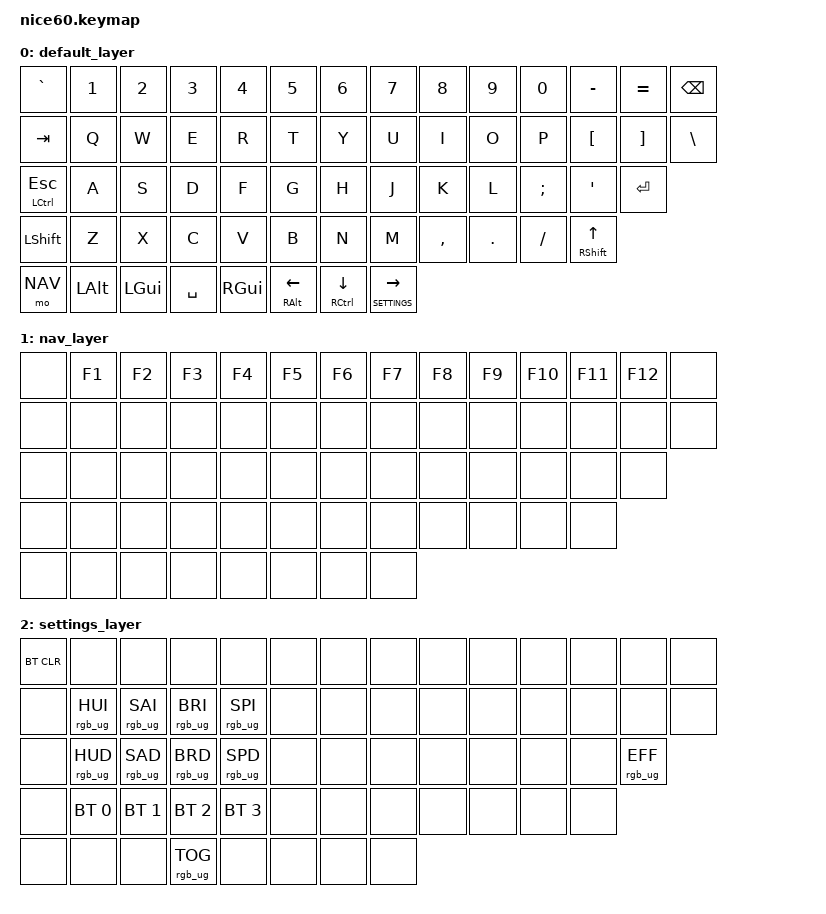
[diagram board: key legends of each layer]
/*
 * Copyright (c) 2021 Nick Winans
 *
 * SPDX-License-Identifier: MIT
 */

#include <behaviors.dtsi>
#include <dt-bindings/zmk/keys.h>
#include <dt-bindings/zmk/rgb.h>
#include <dt-bindings/zmk/bt.h>
#include <dt-bindings/zmk/outputs.h>
#include <dt-bindings/zmk/reset.h>
#include <dt-bindings/zmk/ext_power.h>

#define DEFAULT  0
#define NAV      1
#define SETTINGS 2

/ {
  keymap {
    compatible = "zmk,keymap";

    default_layer {
      bindings = <
        &kp GRAVE     &kp N1   &kp N2   &kp N3    &kp N4   &kp N5        &kp N6         &kp N7             &kp N8    &kp N9  &kp N0   &kp MINUS    &kp EQUAL &kp BSPC
        &kp TAB       &kp Q    &kp W    &kp E     &kp R    &kp T         &kp Y          &kp U              &kp I     &kp O   &kp P    &kp LBKT     &kp RBKT  &kp BSLH
        &mt LCTRL ESC &kp A    &kp S    &kp D     &kp F    &kp G         &kp H          &kp J              &kp K     &kp L   &kp SEMI &kp SQT      &kp RET
        &kp LSHFT     &kp Z    &kp X    &kp C     &kp V    &kp B         &kp N          &kp M              &kp COMMA &kp DOT &kp FSLH &mt RSHFT UP
        &mo NAV       &kp LALT &kp LGUI &kp SPACE &kp RGUI &mt RALT LEFT &mt RCTRL DOWN &lt SETTINGS RIGHT
        >;
    };

    nav_layer {
      bindings = <
        &none &kp F1 &kp F2 &kp F3 &kp F4 &kp F5 &kp F6 &kp F7 &kp F8 &kp F9 &kp F10 &kp F11 &kp F12 &none
        &none &none  &none  &none  &none  &none  &none  &none  &none  &none  &none   &none   &none   &none
        &none &none  &none  &none  &none  &none  &none  &none  &none  &none  &none   &none   &none
        &none &none  &none  &none  &none  &none  &none  &none  &none  &none  &none   &none
        &none &none  &none  &none  &none  &none  &none  &none
        >;
    };

    settings_layer {
      bindings = <
        &bt BT_CLR &none           &none           &none           &none           &none &none &none &none &none &none &none &none           &none
        &none      &rgb_ug RGB_HUI &rgb_ug RGB_SAI &rgb_ug RGB_BRI &rgb_ug RGB_SPI &none &none &none &none &none &none &none &none           &none
        &none      &rgb_ug RGB_HUD &rgb_ug RGB_SAD &rgb_ug RGB_BRD &rgb_ug RGB_SPD &none &none &none &none &none &none &none &rgb_ug RGB_EFF
        &none      &bt BT_SEL 0    &bt BT_SEL 1    &bt BT_SEL 2    &bt BT_SEL 3    &none &none &none &none &none &none &none
        &none      &none           &none           &rgb_ug RGB_TOG &none           &none &none &none
        >;
    };

  };
};
